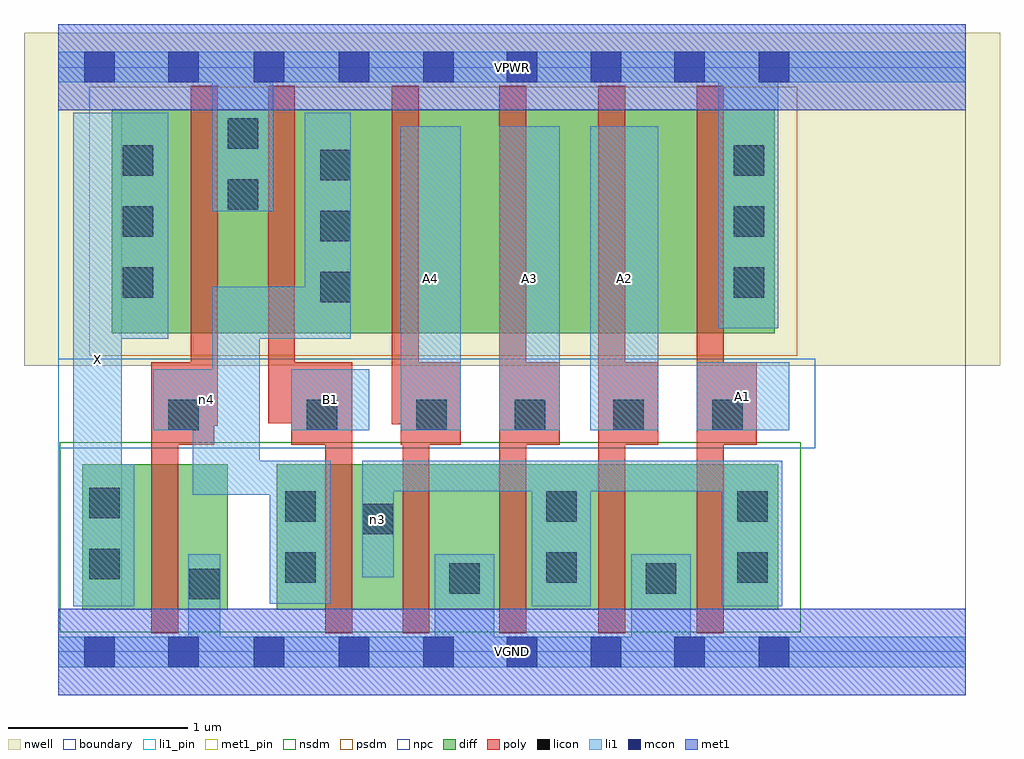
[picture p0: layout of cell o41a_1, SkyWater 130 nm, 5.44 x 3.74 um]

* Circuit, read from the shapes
.subckt o41a_1 A1 A2 A3 A4 B1 VGND VPWR X n3 n4
XM1 VGND n4 X VSUBS sky130_fd_pr__nfet_01v8 w=0.81 l=0.15
XM2 n3 B1 n4 VSUBS sky130_fd_pr__nfet_01v8 w=0.81 l=0.15
XM3 VGND A4 n3 VSUBS sky130_fd_pr__nfet_01v8 w=0.81 l=0.15
XM4 n3 A3 VGND VSUBS sky130_fd_pr__nfet_01v8 w=0.81 l=0.15
XM5 VGND A2 n3 VSUBS sky130_fd_pr__nfet_01v8 w=0.81 l=0.15
XM6 n3 A1 VGND VSUBS sky130_fd_pr__nfet_01v8 w=0.81 l=0.15
XM7 VPWR n4 X n1 sky130_fd_pr__pfet_01v8 w=1.25 l=0.15
XM8 n4 B1 VPWR n1 sky130_fd_pr__pfet_01v8 w=1.25 l=0.15
XM9 n2 A4 n4 n1 sky130_fd_pr__pfet_01v8 w=1.25 l=0.15
XM10 n5 A3 n2 n1 sky130_fd_pr__pfet_01v8 w=1.25 l=0.15
XM11 n6 A2 n5 n1 sky130_fd_pr__pfet_01v8 w=1.25 l=0.15
XM12 VPWR A1 n6 n1 sky130_fd_pr__pfet_01v8 w=1.25 l=0.15
.ends

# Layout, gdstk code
import gdstk
lib = gdstk.Library(unit=1e-6, precision=1e-09)
def R(c, l, rs):  # rectangles x0, y0, x1, y1
    for r in rs: c.add(gdstk.rectangle(r[:2], r[2:], *l))
def A(c, l, x, y, w, h, nx, ny, dx, dy):  # array of equal rectangles
    R(c, l, [(x+i*dx, y+j*dy, x+i*dx+w, y+j*dy+h) for i in range(nx) for j in range(ny)])
nwell = (64, 20)
diff = (65, 20)
poly = (66, 20)
licon = (66, 44)
li1_pin = (67, 16)
li1 = (67, 20)
mcon = (67, 44)
met1_pin = (68, 16)
met1 = (68, 20)
nsdm = (93, 44)
psdm = (94, 20)
npc = (95, 20)
boundary = (235, 4)

o41a_1 = lib.new_cell('o41a_1')
R(o41a_1, nwell, [(-0.19,1.595,5.25,3.45), (0,1.595,5.06,3.45)])
R(o41a_1, diff, [(0.135,0.235,0.945,1.045), (1.22,0.235,4.015,1.045), (0.3,1.775,3.995,3.025)])
A(o41a_1, poly, 2.46, 0.105, 0.15, 3.05, 3, 1, 0.55, 0)
A(o41a_1, poly, 1.91, 1.155, 0.335, 0.46, 4, 1, 0.55, 0)
R(o41a_1, poly, [(0.52,0.105,0.67,1.615), (1.49,0.105,1.64,1.615), (1.92,0.105,2.07,1.615), (0.52,1.155,0.87,1.615), (1.3,1.155,1.64,1.615), (0.74,1.26,0.89,3.155), (1.86,1.27,2.01,3.155), (1.17,1.275,1.32,3.155)])
A(o41a_1, licon, 1.995, 1.235, 0.17, 0.17, 4, 1, 0.55, 0)
A(o41a_1, licon, 1.46, 1.95, 0.17, 0.17, 1, 3, 0, 0.34)
A(o41a_1, licon, 0.36, 1.975, 0.17, 0.17, 1, 3, 0, 0.34)
A(o41a_1, licon, 3.765, 1.975, 0.17, 0.17, 1, 3, 0, 0.34)
R(o41a_1, licon, [(0.73,0.295,0.9,0.465), (2.18,0.325,2.35,0.495), (3.275,0.325,3.445,0.495), (1.265,0.385,1.435,0.555), (2.72,0.385,2.89,0.555), (3.785,0.385,3.955,0.555), (0.175,0.405,0.345,0.575), (1.695,0.655,1.865,0.825), (1.265,0.725,1.435,0.895), (2.72,0.725,2.89,0.895), (3.785,0.725,3.955,0.895), (0.175,0.745,0.345,0.915), (0.615,1.235,0.785,1.405), (1.385,1.235,1.555,1.405), (0.945,2.465,1.115,2.635), (0.945,2.805,1.115,2.975)])
R(o41a_1, li1_pin, [(0.085,0.255,0.355,3.005), (1.3,1.235,1.735,1.575), (1.91,1.235,2.245,2.93), (2.46,1.235,2.795,2.93), (2.965,1.235,3.345,2.93), (3.56,1.235,4.075,1.615)])
R(o41a_1, li1, [(0,-0.085,5.06,0.085), (0.725,-0.085,0.905,0.545), (2.1,-0.085,2.43,0.545), (3.195,-0.085,3.525,0.545), (0.085,0.255,0.355,3.005), (0.085,0.255,0.425,1.045), (2.64,0.255,2.97,1.065), (3.7,0.255,4.035,1.065), (1.18,0.27,1.52,1.065), (1.695,0.415,1.87,1.065), (0.75,0.875,1.125,1.575), (0.75,0.875,1.52,1.065), (0.86,0.875,1.125,2.035), (1.695,0.895,4.035,1.065), (0.53,1.235,1.125,1.575), (1.3,1.235,1.735,1.575), (1.91,1.235,2.245,2.93), (2.46,1.235,2.795,2.93), (2.965,1.235,3.345,2.93), (3.56,1.235,4.075,1.615), (0.085,1.745,0.615,3.005), (0.86,1.745,1.63,2.035), (1.375,1.745,1.63,3.005), (3.68,1.805,4.015,3.345), (0.86,2.455,1.2,3.345), (0,3.175,5.06,3.345)])
A(o41a_1, mcon, 0.615, -0.085, 0.17, 0.17, 3, 2, 0.475, 3.26)
R(o41a_1, mcon, [(0.145,-0.085,0.315,0.085), (2.035,-0.085,2.205,0.085), (2.5,-0.085,2.67,0.085), (2.97,-0.085,3.14,0.085), (3.435,-0.085,3.605,0.085), (3.905,-0.085,4.075,0.085), (0.145,3.175,0.315,3.345), (2.035,3.175,2.205,3.345), (2.5,3.175,2.67,3.345), (2.97,3.175,3.14,3.345), (3.435,3.175,3.605,3.345), (3.905,3.175,4.075,3.345)])
R(o41a_1, met1_pin, [(0,-0.24,5.06,0.24), (0,3.02,5.06,3.5)])
R(o41a_1, met1, [(0,-0.24,5.06,0.24), (0,3.02,5.06,3.5)])
R(o41a_1, nsdm, [(0.01,0.11,4.14,1.17)])
R(o41a_1, psdm, [(0.175,1.65,4.12,3.15)])
R(o41a_1, npc, [(0,1.135,4.22,1.635)])
R(o41a_1, boundary, [(0,0,5.06,3.26)])
o41a_1.add(gdstk.Label('A1', (3.817,1.425), layer=67, texttype=5))
o41a_1.add(gdstk.Label('A2', (3.155,2.082), layer=67, texttype=5))
o41a_1.add(gdstk.Label('A3', (2.627,2.082), layer=67, texttype=5))
o41a_1.add(gdstk.Label('A4', (2.077,2.082), layer=67, texttype=5))
o41a_1.add(gdstk.Label('B1', (1.517,1.405), layer=67, texttype=5))
o41a_1.add(gdstk.Label('X', (0.22,1.63), layer=67, texttype=5))
o41a_1.add(gdstk.Label('n3', (1.782,0.74), layer=67, texttype=5))
o41a_1.add(gdstk.Label('n4', (0.827,1.405), layer=67, texttype=5))
o41a_1.add(gdstk.Label('VPWR', (2.53,3.26), layer=68, texttype=5))
o41a_1.add(gdstk.Label('VGND', (2.53,0), layer=68, texttype=5))
o41a_1.add(gdstk.Label('A1', (3.817,1.425), layer=67, texttype=16))
o41a_1.add(gdstk.Label('A2', (3.155,2.082), layer=67, texttype=16))
o41a_1.add(gdstk.Label('A3', (2.627,2.082), layer=67, texttype=16))
o41a_1.add(gdstk.Label('A4', (2.077,2.082), layer=67, texttype=16))
o41a_1.add(gdstk.Label('B1', (1.517,1.405), layer=67, texttype=16))
o41a_1.add(gdstk.Label('X', (0.22,1.63), layer=67, texttype=16))
o41a_1.add(gdstk.Label('VPWR', (2.53,3.26), layer=68, texttype=16))
o41a_1.add(gdstk.Label('VGND', (2.53,0), layer=68, texttype=16))

lib.write_gds('o41a_1.gds')
